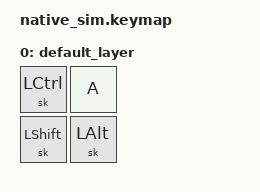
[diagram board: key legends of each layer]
#include <dt-bindings/zmk/keys.h>
#include <behaviors.dtsi>
#include <dt-bindings/zmk/input_mock.h>

/* this test ensures that lazy sticky keys don't emit anything on timeout */

&sk {
    lazy;
    release-after-ms = <50>;
};

/ {
    keymap {
        compatible = "zmk,keymap";

        default_layer {
            bindings = <
                &sk LEFT_CONTROL &kp A
                &sk LEFT_SHIFT &sk LEFT_ALT>;
        };
    };
};

&mock_input {
    events = <
        /* tap sk LEFT_CONTROL */
        ZMK_INPUT_MOCK_PRESS(0,0,10)
        ZMK_INPUT_MOCK_RELEASE(0,0,10)
        /* tap sk LEFT_SHIFT */
        ZMK_INPUT_MOCK_PRESS(1,0,10)
        ZMK_INPUT_MOCK_RELEASE(1,0,60)
        /* tap sk LEFT_ALT */
        ZMK_INPUT_MOCK_PRESS(1,1,10)
        ZMK_INPUT_MOCK_RELEASE(1,1,60)
        /* tap A */
        ZMK_INPUT_MOCK_PRESS(0,1,10)
        ZMK_INPUT_MOCK_RELEASE(0,1,10)
        /* tap A */
        ZMK_INPUT_MOCK_PRESS(0,1,10)
        ZMK_INPUT_MOCK_RELEASE(0,1,10)
    >;
};
